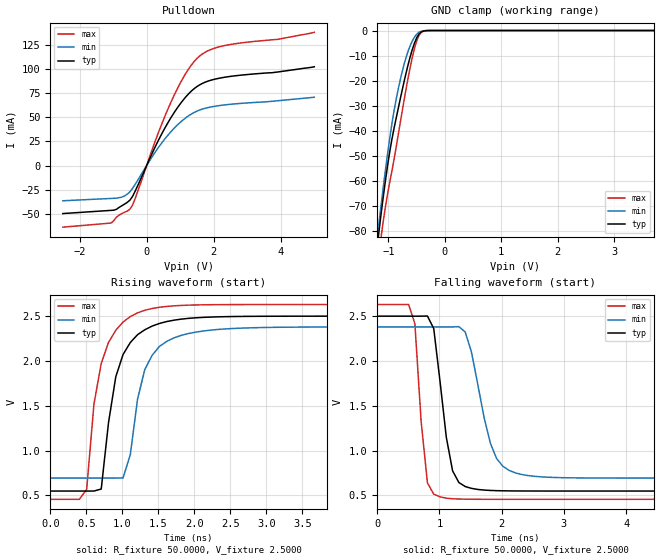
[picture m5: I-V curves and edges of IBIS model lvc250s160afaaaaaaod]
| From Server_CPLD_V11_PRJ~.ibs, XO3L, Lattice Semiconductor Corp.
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[Model]   lvc250s160afaaaaaaod
Model_type   I/O_open_drain
Polarity   Non-Inverting
Enable   Active-Low
Vinl =   0.7000V
Vinh =   1.7000V
Vmeas =   1.2500V
Cref =   0.0F
Rref =   1.0000M
Vref =   0.0V
C_comp   4.2000pF   3.8000pF   7.5000pF
[Temperature Range]   25.0000   0.1050k   -40.0000
[Voltage Range]   2.5000V   2.3800V   2.6300V
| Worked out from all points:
|   slope of the pulldown table from 0 to 0.375 V, typ, clamps not added: 13.5 ohm
|   GND clamp passes 1 mA (typ) near -0.44 V on its own axis
|   rising waveform, R_fixture 50.0000, V_fixture 2.5000: 20-80 % time 281ps typ, 277ps min, 264ps max; typ from 0.549 V to 2.5 V
|   falling waveform, R_fixture 50.0000, V_fixture 2.5000: 20-80 % time 215ps typ, 319ps min, 144ps max; typ from 2.5 V to 0.549 V
[Pulldown]
|Voltage   I(typ)   I(min)   I(max)
-2.5V     -49.64mA   -36.43mA   -63.68mA
-1.06V    -46.34mA   -34.01mA   -59.43mA
-740mV    -41.52mA   -32.61mA   -49.64mA
-500mV    -35.8mA    -27.15mA   -45.23mA
-340mV    -26.3mA    -19.3mA    -33.84mA
300mV     22.52mA    16.15mA    29.41mA
780mV     52.53mA    37.05mA    69.64mA
1.18V     71.4mA     49.65mA    95.93mA
1.58V     83.33mA    57.33mA    113.1mA
1.9V      87.97mA    60.39mA    119.6mA
2.38V     91.48mA    62.82mA    124.3mA
5V        102mA      70.58mA    137.6mA
[GND_clamp]
|Voltage   I(typ)   I(min)   I(max)
-2.5V     -564.7mA   -543.1mA   -585.2mA
-1.18V    -82.36mA   -79.04mA   -91.17mA
-1.14V    -74.89mA   -71.39mA   -83.98mA
-1.1V     -67.71mA   -63.95mA   -77.28mA
-980mV    -48.67mA   -43.37mA   -60.82mA
-820mV    -30.36mA   -22.66mA   -40.67mA
-700mV    -18.1mA    -11.63mA   -24.81mA
-620mV    -10.88mA   -6.341mA   -15.24mA
-540mV    -5.068mA   -2.657mA   -7.239mA
-460mV    -1.45mA    -716.2uA   -1.987mA
-300mV    -18.83uA   -15.98uA   -16.73uA
5V        0A         0A         0A
[Ramp]
| variable   typ   min   max
dV/dt_r  1.1707/0.2782n   1.0120/0.2747n   1.3041/0.2611n
dV/dt_f  1.1707/0.2133n   1.0120/0.3154n   1.3041/0.1429n
R_load = 50.0000
[Rising Waveform]
R_fixture=   50.0000
V_fixture=   2.5000
V_fixture_min=   2.3800
V_fixture_max=   2.6300
|time   V(typ)   V(min)   V(max)
0s        548.8mV    693.3mV    456.4mV
505.1ps   548.8mV    693.3mV    568mV
606.1ps   549mV      693.3mV    1.519V
707.1ps   571.3mV    693.3mV    1.972V
909.1ps   1.823V     693.6mV    2.343V
1.111ns   2.206V     956.6mV    2.496V
1.313ns   2.349V     1.907V     2.566V
1.616ns   2.44V      2.219V     2.608V
2.424ns   2.494V     2.357V     2.629V
10ns      2.5V       2.38V      2.63V
[Falling Waveform]
R_fixture=   50.0000
V_fixture=   2.5000
V_fixture_min=   2.3800
V_fixture_max=   2.6300
|time   V(typ)   V(min)   V(max)
0s        2.5V       2.38V      2.63V
606.1ps   2.5V       2.38V      2.417V
808.1ps   2.501V     2.38V      639.8mV
1.01ns    1.774V     2.38V      484.6mV
1.111ns   1.15V      2.38V      469.1mV
1.313ns   643.9mV    2.383V     459.8mV
1.515ns   578.6mV    2.101V     457.3mV
1.818ns   555.6mV    1.085V     456.6mV
2.222ns   549.9mV    751.2mV    456.5mV
10ns      548.8mV    693.3mV    456.4mV
